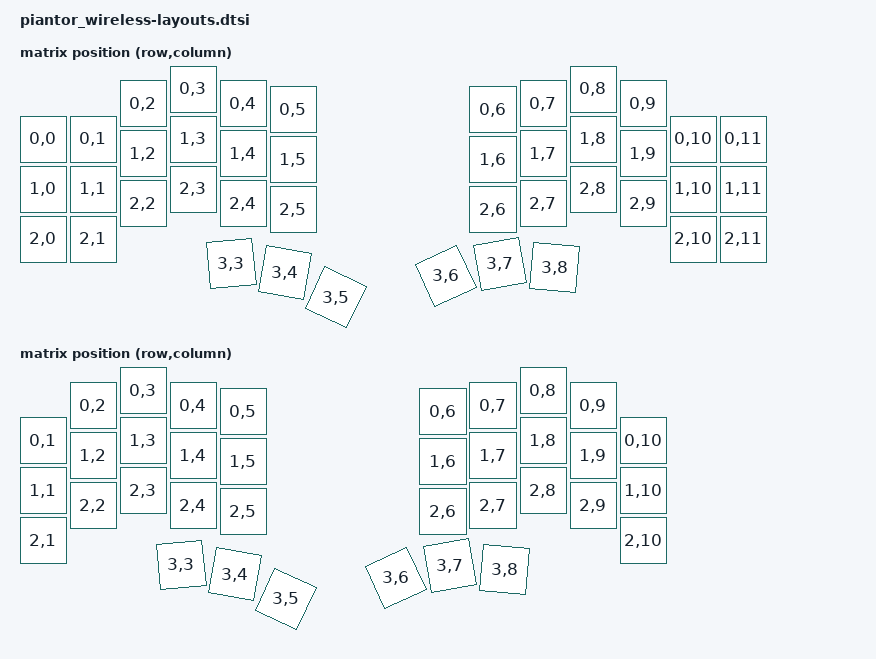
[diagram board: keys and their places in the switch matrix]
#include <physical_layouts.dtsi>
#include <dt-bindings/zmk/matrix_transform.h>

/ {
    /* 42 键物理矩阵映射 (Left col0..5, Right col6..11 内到外反转排列) */
    default_transform: keymap_transform_42 {
        compatible = "zmk,matrix-transform";
        columns = <12>;
        rows = <4>;
        map = <
            RC(0,0) RC(0,1) RC(0,2) RC(0,3) RC(0,4) RC(0,5)     RC(0,6) RC(0,7) RC(0,8) RC(0,9) RC(0,10) RC(0,11)
            RC(1,0) RC(1,1) RC(1,2) RC(1,3) RC(1,4) RC(1,5)     RC(1,6) RC(1,7) RC(1,8) RC(1,9) RC(1,10) RC(1,11)
            RC(2,0) RC(2,1) RC(2,2) RC(2,3) RC(2,4) RC(2,5)     RC(2,6) RC(2,7) RC(2,8) RC(2,9) RC(2,10) RC(2,11)
                                    RC(3,3) RC(3,4) RC(3,5)     RC(3,6) RC(3,7) RC(3,8)
        >;
    };

    /* 36 键物理矩阵映射 (折断第 6 列 col0 / col11 后使用) */
    five_col_transform: keymap_transform_36 {
        compatible = "zmk,matrix-transform";
        columns = <12>;
        rows = <4>;
        map = <
            RC(0,1) RC(0,2) RC(0,3) RC(0,4) RC(0,5)     RC(0,6) RC(0,7) RC(0,8) RC(0,9) RC(0,10)
            RC(1,1) RC(1,2) RC(1,3) RC(1,4) RC(1,5)     RC(1,6) RC(1,7) RC(1,8) RC(1,9) RC(1,10)
            RC(2,1) RC(2,2) RC(2,3) RC(2,4) RC(2,5)     RC(2,6) RC(2,7) RC(2,8) RC(2,9) RC(2,10)
                            RC(3,3) RC(3,4) RC(3,5)     RC(3,6) RC(3,7) RC(3,8)
        >;
    };

    physical_layout_42: physical_layout_42 {
        compatible = "zmk,physical-layout";
        display-name = "Piantor 42-Key (6-Col)";
        transform = <&default_transform>;
        kscan = <&kscan0>;
        keys =
            < &key_physical_attrs 100 100    0 100       0    0 100 >,
            < &key_physical_attrs 100 100  100 100       0  100 100 >,
            < &key_physical_attrs 100 100  200  29       0  200  29 >,
            < &key_physical_attrs 100 100  300   0       0  300   0 >,
            < &key_physical_attrs 100 100  400  29       0  400  29 >,
            < &key_physical_attrs 100 100  500  41       0  500  41 >,
            < &key_physical_attrs 100 100  900  41       0  900  41 >,
            < &key_physical_attrs 100 100 1000  29       0 1000  29 >,
            < &key_physical_attrs 100 100 1100   0       0 1100   0 >,
            < &key_physical_attrs 100 100 1200  29       0 1200  29 >,
            < &key_physical_attrs 100 100 1300 100       0 1300 100 >,
            < &key_physical_attrs 100 100 1400 100       0 1400 100 >,
            < &key_physical_attrs 100 100    0 200       0    0 200 >,
            < &key_physical_attrs 100 100  100 200       0  100 200 >,
            < &key_physical_attrs 100 100  200 129       0  200 129 >,
            < &key_physical_attrs 100 100  300 100       0  300 100 >,
            < &key_physical_attrs 100 100  400 129       0  400 129 >,
            < &key_physical_attrs 100 100  500 141       0  500 141 >,
            < &key_physical_attrs 100 100  900 141       0  900 141 >,
            < &key_physical_attrs 100 100 1000 129       0 1000 129 >,
            < &key_physical_attrs 100 100 1100 100       0 1100 100 >,
            < &key_physical_attrs 100 100 1200 129       0 1200 129 >,
            < &key_physical_attrs 100 100 1300 200       0 1300 200 >,
            < &key_physical_attrs 100 100 1400 200       0 1400 200 >,
            < &key_physical_attrs 100 100    0 300       0    0 300 >,
            < &key_physical_attrs 100 100  100 300       0  100 300 >,
            < &key_physical_attrs 100 100  200 229       0  200 229 >,
            < &key_physical_attrs 100 100  300 200       0  300 200 >,
            < &key_physical_attrs 100 100  400 229       0  400 229 >,
            < &key_physical_attrs 100 100  500 241       0  500 241 >,
            < &key_physical_attrs 100 100  900 241       0  900 241 >,
            < &key_physical_attrs 100 100 1000 229       0 1000 229 >,
            < &key_physical_attrs 100 100 1100 200       0 1100 200 >,
            < &key_physical_attrs 100 100 1200 229       0 1200 229 >,
            < &key_physical_attrs 100 100 1300 300       0 1300 300 >,
            < &key_physical_attrs 100 100 1400 300       0 1400 300 >,
            < &key_physical_attrs 100 100  372 353  (-500)  372 353 >,
            < &key_physical_attrs 100 100  494 359    1000  494 359 >,
            < &key_physical_attrs 100 100  611 400    2500  611 400 >,
            < &key_physical_attrs 100 100  789 400 (-2500)  789 400 >,
            < &key_physical_attrs 100 100  906 359 (-1000)  906 359 >,
            < &key_physical_attrs 100 100 1028 353     500 1028 353 >;
    };

    physical_layout_36: physical_layout_36 {
        compatible = "zmk,physical-layout";
        display-name = "Piantor 36-Key (5-Col)";
        transform = <&five_col_transform>;
        kscan = <&kscan0>;
        keys =
            < &key_physical_attrs 100 100    0 100       0    0 100 >,
            < &key_physical_attrs 100 100  100  29       0  100  29 >,
            < &key_physical_attrs 100 100  200   0       0  200   0 >,
            < &key_physical_attrs 100 100  300  29       0  300  29 >,
            < &key_physical_attrs 100 100  400  41       0  400  41 >,
            < &key_physical_attrs 100 100  800  41       0  800  41 >,
            < &key_physical_attrs 100 100  900  29       0  900  29 >,
            < &key_physical_attrs 100 100 1000   0       0 1000   0 >,
            < &key_physical_attrs 100 100 1100  29       0 1100  29 >,
            < &key_physical_attrs 100 100 1200 100       0 1200 100 >,
            < &key_physical_attrs 100 100    0 200       0    0 200 >,
            < &key_physical_attrs 100 100  100 129       0  100 129 >,
            < &key_physical_attrs 100 100  200 100       0  200 100 >,
            < &key_physical_attrs 100 100  300 129       0  300 129 >,
            < &key_physical_attrs 100 100  400 141       0  400 141 >,
            < &key_physical_attrs 100 100  800 141       0  800 141 >,
            < &key_physical_attrs 100 100  900 129       0  900 129 >,
            < &key_physical_attrs 100 100 1000 100       0 1000 100 >,
            < &key_physical_attrs 100 100 1100 129       0 1100 129 >,
            < &key_physical_attrs 100 100 1200 200       0 1200 200 >,
            < &key_physical_attrs 100 100    0 300       0    0 300 >,
            < &key_physical_attrs 100 100  100 229       0  100 229 >,
            < &key_physical_attrs 100 100  200 200       0  200 200 >,
            < &key_physical_attrs 100 100  300 229       0  300 229 >,
            < &key_physical_attrs 100 100  400 241       0  400 241 >,
            < &key_physical_attrs 100 100  800 241       0  800 241 >,
            < &key_physical_attrs 100 100  900 229       0  900 229 >,
            < &key_physical_attrs 100 100 1000 200       0 1000 200 >,
            < &key_physical_attrs 100 100 1100 229       0 1100 229 >,
            < &key_physical_attrs 100 100 1200 300       0 1200 300 >,
            < &key_physical_attrs 100 100  272 353  (-500)  272 353 >,
            < &key_physical_attrs 100 100  394 359    1000  394 359 >,
            < &key_physical_attrs 100 100  511 400    2500  511 400 >,
            < &key_physical_attrs 100 100  689 400 (-2500)  689 400 >,
            < &key_physical_attrs 100 100  806 359 (-1000)  806 359 >,
            < &key_physical_attrs 100 100  928 353     500  928 353 >;
    };

    /* 无损位置映射：确保 ZMK Studio 在 42 键与 36 键间切换时键位精准对应（跳过外侧第 6 列 0,11,12,23,24,35） */
    piantor_position_map {
        compatible = "zmk,physical-layout-position-map";
        complete;

        map_42: map_42 {
            physical-layout = <&physical_layout_42>;
            positions = <
                 0  1  2  3  4  5     6  7  8  9 10 11
                12 13 14 15 16 17    18 19 20 21 22 23
                24 25 26 27 28 29    30 31 32 33 34 35
                         36 37 38    39 40 41
            >;
        };

        map_36: map_36 {
            physical-layout = <&physical_layout_36>;
            positions = <
                36  0  1  2  3  4     5  6  7  8  9 37
                38 10 11 12 13 14    15 16 17 18 19 39
                40 20 21 22 23 24    25 26 27 28 29 41
                         30 31 32    33 34 35
            >;
        };
    };
};
